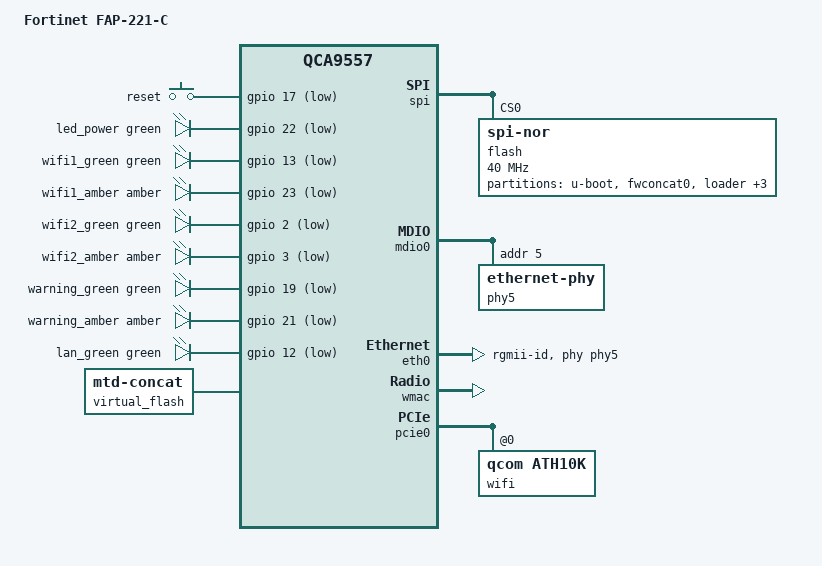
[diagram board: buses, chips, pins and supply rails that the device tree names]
// SPDX-License-Identifier: GPL-2.0-or-later OR MIT

#include "qca955x.dtsi"

#include <dt-bindings/gpio/gpio.h>
#include <dt-bindings/input/input.h>
#include <dt-bindings/leds/common.h>
#include <dt-bindings/mtd/partitions/uimage.h>

/ {
	compatible = "fortinet,fap-221-c", "qca,qca9557";
	model = "Fortinet FAP-221-C";

	aliases {
		led-boot = &led_power;
		led-failsafe = &led_power;
		led-running = &led_power;
		led-upgrade = &led_power;
	};

	chosen {
		bootargs = "console=ttyS0,9600";
	};

	keys {
		compatible = "gpio-keys";

		reset {
			label = "reset";
			gpios = <&gpio 17 GPIO_ACTIVE_LOW>;
			debounce-interval = <60>;
			linux,code = <KEY_RESTART>;
		};
	};

	leds {
		compatible = "gpio-leds";
		pinctrl-names = "default";
		pinctrl-0 = <&enable_gpio_2_3 &jtag_disable_pins>;

		led_power: power_green {
			function = LED_FUNCTION_POWER;
			color = <LED_COLOR_ID_GREEN>;
			gpios = <&gpio 22 GPIO_ACTIVE_LOW>;
			default-state = "on";
		};

		wifi1_green {
			function = LED_FUNCTION_WLAN_2GHZ;
			color = <LED_COLOR_ID_GREEN>;
			gpios = <&gpio 13 GPIO_ACTIVE_LOW>;
			linux,default-trigger = "phy1tpt";
		};

		wifi1_amber {
			function = LED_FUNCTION_WLAN_2GHZ;
			color = <LED_COLOR_ID_AMBER>;
			gpios = <&gpio 23 GPIO_ACTIVE_LOW>;
		};

		wifi2_green {
			function = LED_FUNCTION_WLAN_5GHZ;
			color = <LED_COLOR_ID_GREEN>;
			gpios = <&gpio 2 GPIO_ACTIVE_LOW>;
			linux,default-trigger = "phy0tpt";
		};

		wifi2_amber {
			function = LED_FUNCTION_WLAN_5GHZ;
			color = <LED_COLOR_ID_AMBER>;
			gpios = <&gpio 3 GPIO_ACTIVE_LOW>;
		};

		warning_green {
			function = "warning";
			color = <LED_COLOR_ID_GREEN>;
			gpios = <&gpio 19 GPIO_ACTIVE_LOW>;
		};

		warning_amber {
			function = "warning";
			color = <LED_COLOR_ID_AMBER>;
			gpios = <&gpio 21 GPIO_ACTIVE_LOW>;
		};

		lan_green {
			function = LED_FUNCTION_LAN;
			color = <LED_COLOR_ID_GREEN>;
			gpios = <&gpio 12 GPIO_ACTIVE_LOW>;
		};
	};

	virtual_flash {
		compatible = "mtd-concat";

		devices = <&fwconcat0 &fwconcat1 &fwconcat2>;

		partitions {
			compatible = "fixed-partitions";
			#address-cells = <1>;
			#size-cells = <1>;

			partition@0 {
				compatible = "openwrt,uimage", "denx,uimage";
				openwrt,ih-magic = <0x73714f4b>;
				label = "firmware";
				reg = <0x0 0x0>;
			};
		};
	};
};

&pinmux {
	enable_gpio_2_3: pinmux_enable_gpio_2_3 {
		pinctrl-single,bits = <0x00 0x0  0xffff0000>;
	};
};

&spi {
	status = "okay";

	flash@0 {
		compatible = "jedec,spi-nor";
		reg = <0>;
		spi-max-frequency = <40000000>;

		partitions {
			compatible = "fixed-partitions";
			#address-cells = <1>;
			#size-cells = <1>;

			uboot: partition@0 {
				label = "u-boot";
				reg = <0x000000 0x040000>;
				read-only;

				nvmem-layout {
					compatible = "fixed-layout";
					#address-cells = <1>;
					#size-cells = <1>;

					macaddr_uboot_3ff80: mac-address@3ff80 {
						compatible = "mac-base";
						reg = <0x3ff80 0xc>;
						#nvmem-cell-cells = <1>;
					};
				};
			};

			fwconcat0: partition@40000 {
				label = "fwconcat0";
				reg = <0x0040000 0x1400000>;
			};

			partition@1440000 {
				label = "loader";
				reg = <0x1440000 0x0010000>;
			};

			fwconcat1: partition@145000 {
				label = "fwconcat1";
				reg = <0x1450000 0x03f0000>;
			};

			fwconcat2: partition@1840000 {
				label = "reserved";
				reg = <0x1840000 0x07b0000>;
			};

			art: partition@1ff0000 {
				label = "art";
				reg = <0x1ff0000 0x0010000>;
				read-only;
			};
		};
	};
};

&mdio0 {
	status = "okay";

	phy5: ethernet-phy@5 {
		reg = <5>;
	};
};

&eth0 {
	status = "okay";
	nvmem-cells = <&macaddr_uboot_3ff80 0>;
	nvmem-cell-names = "mac-address";

	phy-handle = <&phy5>;
	phy-mode = "rgmii-id";

	pll-data = <0x82000000 0x80000101 0x80001313>;
};

&wmac {
	status = "okay";

	nvmem-cells = <&calibration_wmac>, <&macaddr_uboot_3ff80 1>;
	nvmem-cell-names = "calibration", "mac-address";
};

&pcie0 {
	status = "okay";

	wifi@0,0 {
		compatible = "qcom,ath10k";
		reg = <0x0 0 0 0 0>;
		nvmem-cells = <&calibration_pcie>, <&macaddr_uboot_3ff80 2>;
		nvmem-cell-names = "calibration", "mac-address";
	};
};

&art {
	  nvmem-layout {
		  compatible = "fixed-layout";
		  #address-cells = <1>;
		  #size-cells = <1>;

		  calibration_wmac: calibration@1000 {
			  reg = <0x1000 0x440>;
		  };

		  calibration_pcie: calibration@5000 {
			  reg = <0x5000 0x844>;
		  };
	  };
};

